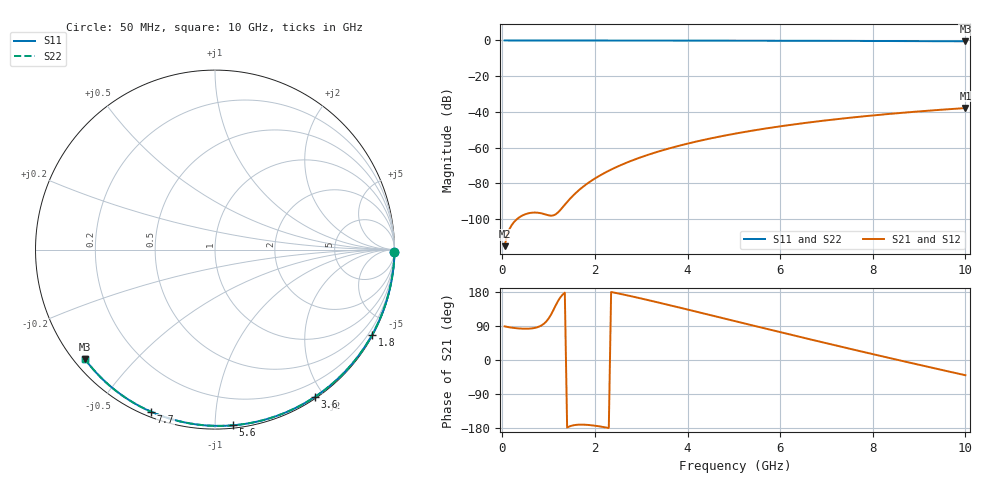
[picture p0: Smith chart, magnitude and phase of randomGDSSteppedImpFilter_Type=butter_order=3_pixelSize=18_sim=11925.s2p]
! freq	dB(S11)	phase(S11)	dB(S12)	phase(S12)
!  dB(S21)	phase(S21)	dB(S22)	phase(S22)
!S-par simulation data
#  GHz  S  DB  R 50
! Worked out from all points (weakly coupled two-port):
!   200 points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, 50 MHz to 10 GHz, reference 50 ohm
!   highest |S21| = -37.84 dB at 10 GHz (marker M1); lowest = -115.1 dB at 50 MHz (marker M2)
!   lowest |S11| = -0.5 dB at 10 GHz (marker M3), VSWR 36.74, Z = 1.54 - j18.2 ohm
!   |S11| at or under -10 dB: nowhere
!   |S22| runs from -0.5 to 0.0 dB; largest |S21 - S12| = 0
!   S11 on the Smith chart (normalised r, x): 50 MHz: open; 1.8 GHz: 0.03, -3.92; 3.6 GHz: 0.02, -1.88; 5.6 GHz: 0.02, -1.11; 7.7 GHz: 0.02, -0.68; 10 GHz: 0.03, -0.36
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0.05  -0.00 -0.8  -115.12 88.7  -115.12 88.7  -0.00 -0.8
0.45  -0.01 -7.3  -97.75 82.6  -97.75 82.6  -0.01 -7.3
0.9  -0.02 -14.5  -97.11 95.8  -97.11 95.8  -0.02 -14.5
1.75  -0.04 -27.9  -81.75 -170.6  -81.75 -170.6  -0.04 -27.9
1.8  -0.04 -28.6  -80.76 -170.9  -80.76 -170.9  -0.04 -28.6
1.85  -0.04 -29.4  -79.83 -171.3  -79.83 -171.3  -0.04 -29.4
2  -0.04 -31.8  -77.25 -173.4  -77.25 -173.4  -0.04 -31.8
2.15  -0.04 -34.1  -74.95 -176.2  -74.95 -176.2  -0.04 -34.1
2.35  -0.05 -37.2  -72.25 179.4  -72.25 179.4  -0.05 -37.2
2.55  -0.05 -40.2  -69.85 174.5  -69.85 174.5  -0.05 -40.2
2.95  -0.06 -46.3  -65.75 163.7  -65.75 163.7  -0.06 -46.3
3.4  -0.07 -53.0  -61.93 150.9  -61.93 150.9  -0.07 -53.0
3.6  -0.08 -55.9  -60.43 145.0  -60.43 145.0  -0.08 -55.9
4.3  -0.09 -66.1  -55.92 124.3  -55.92 124.3  -0.09 -66.1
5.05  -0.12 -76.6  -52.03 101.8  -52.03 101.8  -0.12 -76.6
5.6  -0.14 -84.1  -49.62 85.4  -49.62 85.4  -0.14 -84.1
6.15  -0.16 -91.5  -47.51 69.1  -47.51 69.1  -0.16 -91.5
6.7  -0.19 -98.7  -45.63 53.0  -45.63 53.0  -0.19 -98.7
7.7  -0.25 -111.5  -42.73 24.0  -42.73 24.0  -0.25 -111.5
8.35  -0.31 -119.6  -41.12 5.5  -41.12 5.5  -0.31 -119.6
9.2  -0.38 -130.1  -39.30 -18.2  -39.30 -18.2  -0.38 -130.1
10  -0.47 -139.9  -37.84 -40.2  -37.84 -40.2  -0.47 -139.9
